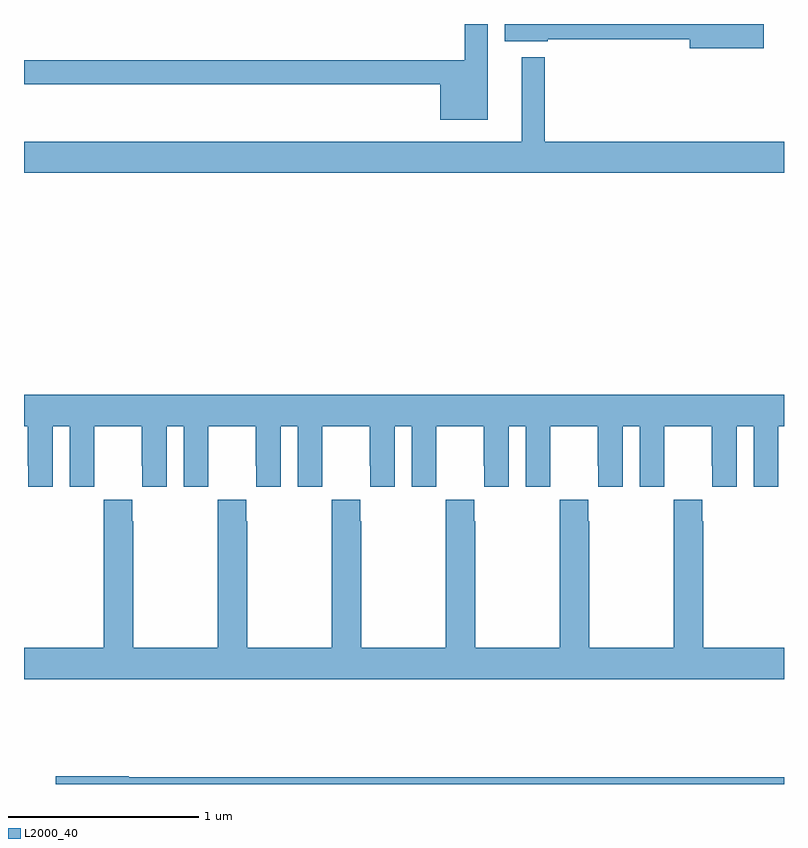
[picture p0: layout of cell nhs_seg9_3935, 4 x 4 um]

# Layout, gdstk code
import gdstk
lib = gdstk.Library(unit=1e-6, precision=1e-09)
def P(c, l, *ps):  # polygons
    for p in ps: c.add(gdstk.Polygon(p, *l))
L2000_40 = (2000, 40)

nhs_seg9_3935 = lib.new_cell('nhs_seg9_3935')
P(nhs_seg9_3935, L2000_40, [(338.893,1234.5),(337.529,1234.5),(337.529,1234.409),(337.756,1234.409),(337.756,1234.42),(338.504,1234.42),(338.504,1234.373),(338.893,1234.373)],
  [(337.441,1234.5),(337.32,1234.5),(337.32,1234.31),(335,1234.31),(335,1234.182),(337.19,1234.182),(337.19,1233.995),(337.441,1233.995)],
  [(339,1233.88),(337.741,1233.88),(337.741,1234.324),(337.619,1234.324),(337.619,1233.88),(335,1233.88),(335,1233.716),(339,1233.716)],
  [(335,1232.384),(335.021,1232.384),(335.021,1232.176),(335.022,1232.176),(335.022,1232.064),(335.152,1232.064),(335.152,1232.384),(335.24,1232.384),(335.24,1232.064),(335.37,1232.064),(335.37,1232.176),(335.371,1232.176),(335.371,1232.384),(335.621,1232.384),(335.621,1232.176),(335.622,1232.176),(335.622,1232.064),(335.752,1232.064),(335.752,1232.384),(335.84,1232.384),(335.84,1232.064),(335.97,1232.064),(335.97,1232.176),(335.971,1232.176),(335.971,1232.384),(336.221,1232.384),(336.221,1232.176),(336.222,1232.176),(336.222,1232.064),(336.352,1232.064),(336.352,1232.384),(336.44,1232.384),(336.44,1232.064),(336.57,1232.064),(336.57,1232.176),(336.571,1232.176),(336.571,1232.384),(336.821,1232.384),(336.821,1232.176),(336.822,1232.176),(336.822,1232.064),(336.952,1232.064),(336.952,1232.384),(337.04,1232.384),(337.04,1232.064),(337.17,1232.064),(337.17,1232.176),(337.171,1232.176),(337.171,1232.384),(337.421,1232.384),(337.421,1232.176),(337.422,1232.176),(337.422,1232.064),(337.552,1232.064),(337.552,1232.384),(337.64,1232.384),(337.64,1232.064),(337.77,1232.064),(337.77,1232.176),(337.771,1232.176),(337.771,1232.384),(338.021,1232.384),(338.021,1232.176),(338.022,1232.176),(338.022,1232.064),(338.152,1232.064),(338.152,1232.384),(338.24,1232.384),(338.24,1232.064),(338.37,1232.064),(338.37,1232.176),(338.371,1232.176),(338.371,1232.384),(338.621,1232.384),(338.621,1232.176),(338.622,1232.176),(338.622,1232.064),(338.752,1232.064),(338.752,1232.384),(338.84,1232.384),(338.84,1232.064),(338.97,1232.064),(338.97,1232.176),(338.971,1232.176),(338.971,1232.384),(339,1232.384),(339,1232.548),(335,1232.548)],
  [(339,1231.216),(338.574,1231.216),(338.574,1231.883),(338.571,1231.883),(338.571,1231.996),(338.421,1231.996),(338.421,1231.883),(338.419,1231.883),(338.419,1231.216),(337.974,1231.216),(337.974,1231.883),(337.971,1231.883),(337.971,1231.996),(337.821,1231.996),(337.821,1231.883),(337.819,1231.883),(337.819,1231.216),(337.374,1231.216),(337.374,1231.883),(337.371,1231.883),(337.371,1231.996),(337.221,1231.996),(337.221,1231.883),(337.219,1231.883),(337.219,1231.216),(336.774,1231.216),(336.774,1231.883),(336.771,1231.883),(336.771,1231.996),(336.621,1231.996),(336.621,1231.883),(336.619,1231.883),(336.619,1231.216),(336.174,1231.216),(336.174,1231.883),(336.171,1231.883),(336.171,1231.996),(336.021,1231.996),(336.021,1231.883),(336.019,1231.883),(336.019,1231.216),(335.574,1231.216),(335.574,1231.883),(335.571,1231.883),(335.571,1231.996),(335.421,1231.996),(335.421,1231.883),(335.419,1231.883),(335.419,1231.216),(335,1231.216),(335,1231.052),(339,1231.052)],
  [(339,1230.536),(335.55,1230.536),(335.55,1230.542),(335.166,1230.542),(335.166,1230.5),(339,1230.5)])

lib.write_gds('nhs_seg9_3935.gds')
